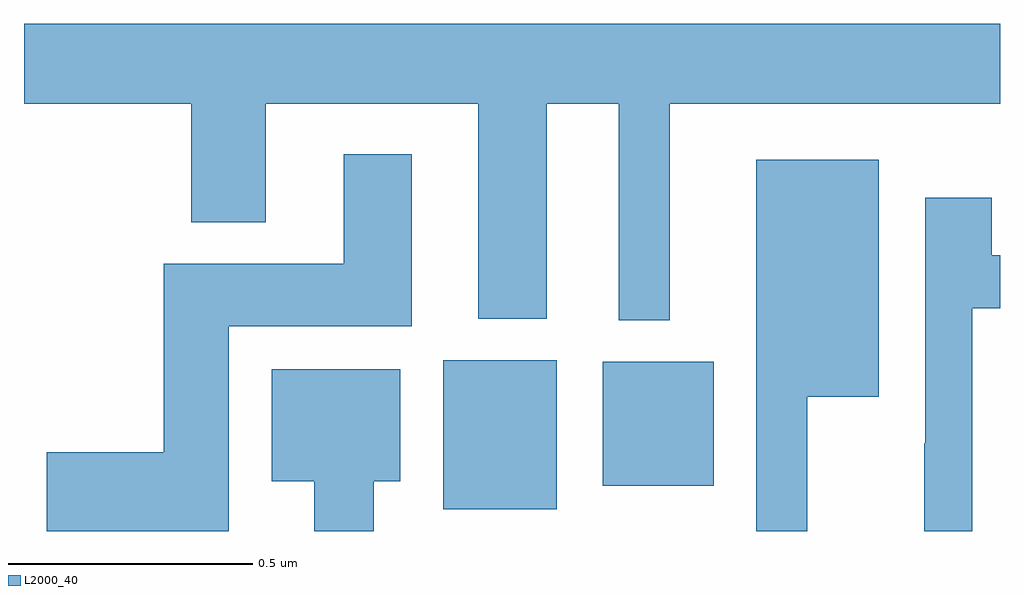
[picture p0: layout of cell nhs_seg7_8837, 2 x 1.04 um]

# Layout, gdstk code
import gdstk
lib = gdstk.Library(unit=1e-6, precision=1e-09)
def R(c, l, rs):  # rectangles x0, y0, x1, y1
    for r in rs: c.add(gdstk.rectangle(r[:2], r[2:], *l))
def P(c, l, *ps):  # polygons
    for p in ps: c.add(gdstk.Polygon(p, *l))
L2000_40 = (2000, 40)

nhs_seg7_8837 = lib.new_cell('nhs_seg7_8837')
R(nhs_seg7_8837, L2000_40, [(229.859,1073.045,230.092,1073.35), (230.186,1073.093,230.413,1073.347)])
P(nhs_seg7_8837, L2000_40, [(230.323,1073.876),(231,1073.876),(231,1074.04),(229,1074.04),(229,1073.876),(229.343,1073.876),(229.343,1073.633),(229.495,1073.633),(229.495,1073.876),(229.931,1073.876),(229.931,1073.435),(230.071,1073.435),(230.071,1073.876),(230.219,1073.876),(230.219,1073.432),(230.323,1073.432)],
  [(229.42,1073.42),(229.795,1073.42),(229.795,1073.773),(229.655,1073.773),(229.655,1073.548),(229.286,1073.548),(229.286,1073.162),(229.047,1073.162),(229.047,1073),(229.42,1073)],
  [(230.605,1073.276),(230.752,1073.276),(230.752,1073.761),(230.501,1073.761),(230.501,1073),(230.605,1073)],
  [(230.943,1073.457),(231,1073.457),(231,1073.566),(230.983,1073.566),(230.983,1073.683),(230.847,1073.683),(230.847,1073.18),(230.845,1073.18),(230.845,1073),(230.943,1073)],
  [(229.717,1073.102),(229.771,1073.102),(229.771,1073.332),(229.508,1073.332),(229.508,1073.102),(229.595,1073.102),(229.595,1073),(229.717,1073)])

lib.write_gds('nhs_seg7_8837.gds')
